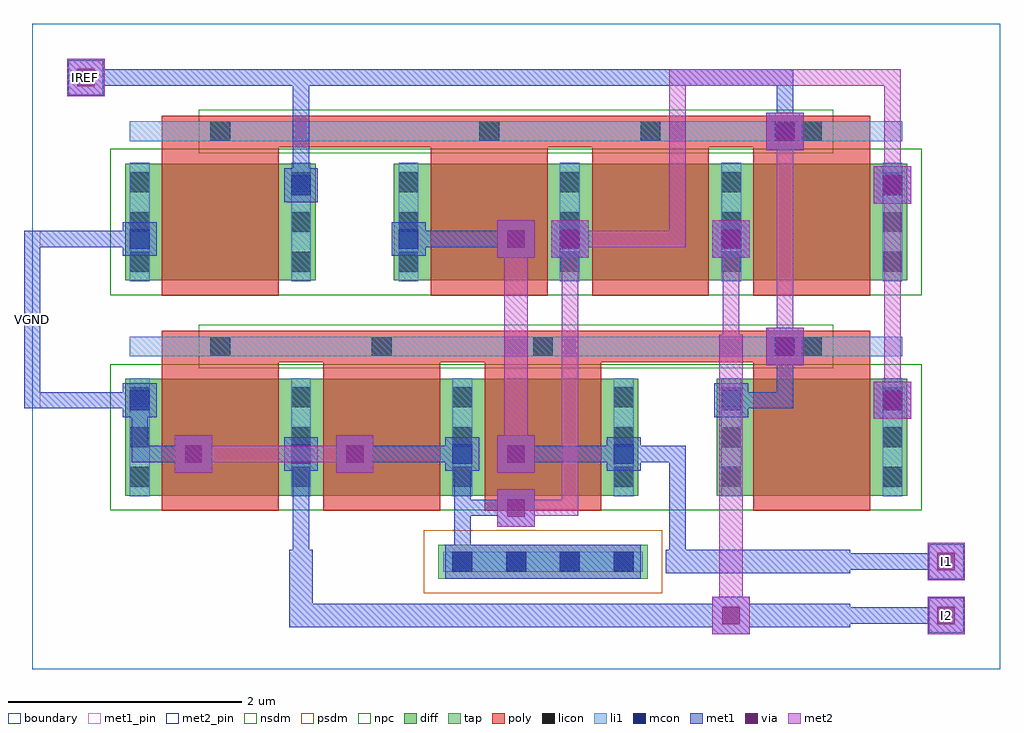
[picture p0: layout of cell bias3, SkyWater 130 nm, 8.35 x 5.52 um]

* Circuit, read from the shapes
.subckt bias3 I1 I2 IREF VGND
XM1 I2 IREF VGND VGND sky130_fd_pr__nfet_01v8 w=1 l=1 m=4
XM2 IREF IREF VGND VGND sky130_fd_pr__nfet_01v8 w=1 l=1 m=2
XM3 VGND IREF I1 VGND sky130_fd_pr__nfet_01v8 w=1 l=1 m=2
.ends

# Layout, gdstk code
import gdstk
lib = gdstk.Library(unit=1e-6, precision=1e-09)
def R(c, l, rs):  # rectangles x0, y0, x1, y1
    for r in rs: c.add(gdstk.rectangle(r[:2], r[2:], *l))
def A(c, l, x, y, w, h, nx, ny, dx, dy):  # array of equal rectangles
    R(c, l, [(x+i*dx, y+j*dy, x+i*dx+w, y+j*dy+h) for i in range(nx) for j in range(ny)])
diff = (65, 20)
tap = (65, 44)
poly = (66, 20)
licon = (66, 44)
li1 = (67, 20)
mcon = (67, 44)
met1_pin = (68, 16)
met1 = (68, 20)
via = (68, 44)
met2_pin = (69, 16)
met2 = (69, 20)
nsdm = (93, 44)
psdm = (94, 20)
npc = (95, 20)
boundary = (235, 4)

bias3 = lib.new_cell('bias3')
R(bias3, diff, [(0.795,1.485,5.185,2.485), (5.855,1.485,7.485,2.485), (0.795,3.325,2.425,4.325), (3.095,3.325,7.485,4.325)])
R(bias3, tap, [(3.475,0.775,5.265,1.065)])
A(bias3, poly, 1.11, 1.355, 1, 1.405, 3, 1, 1.38, 0)
A(bias3, poly, 3.41, 3.195, 1, 1.405, 3, 1, 1.38, 0)
R(bias3, poly, [(6.17,1.355,7.17,2.76), (1.11,2.625,7.17,2.895), (1.11,3.195,2.11,4.6), (1.11,4.465,7.17,4.735)])
A(bias3, licon, 3.595, 0.835, 0.17, 0.17, 4, 1, 0.46, 0)
A(bias3, licon, 0.835, 1.56, 0.17, 0.17, 4, 3, 1.38, 0.34)
A(bias3, licon, 5.895, 1.56, 0.17, 0.17, 1, 3, 0, 0.34)
A(bias3, licon, 7.275, 1.56, 0.17, 0.17, 1, 3, 0, 0.34)
A(bias3, licon, 1.525, 2.675, 0.17, 0.17, 3, 1, 1.38, 0)
A(bias3, licon, 0.835, 3.4, 0.17, 0.17, 1, 3, 0, 0.34)
A(bias3, licon, 2.215, 3.4, 0.17, 0.17, 1, 3, 0, 0.34)
A(bias3, licon, 3.135, 3.4, 0.17, 0.17, 4, 3, 1.38, 0.34)
A(bias3, licon, 3.825, 4.515, 0.17, 0.17, 3, 1, 1.38, 0)
R(bias3, licon, [(6.585,2.675,6.755,2.845), (1.525,4.515,1.695,4.685)])
A(bias3, li1, 0.835, 1.48, 0.17, 1.01, 4, 1, 1.38, 0)
A(bias3, li1, 3.135, 3.32, 0.17, 1.01, 4, 1, 1.38, 0)
R(bias3, li1, [(3.515,0.835,5.225,1.005), (5.895,1.48,6.065,2.49), (7.275,1.48,7.445,2.49), (0.835,2.675,7.445,2.845), (0.835,3.32,1.005,4.33), (2.215,3.32,2.385,4.33), (0.835,4.515,7.445,4.685)])
A(bias3, mcon, 3.595, 0.835, 0.17, 0.17, 4, 1, 0.46, 0)
A(bias3, mcon, 2.215, 1.755, 0.17, 0.17, 3, 1, 1.38, 0)
A(bias3, mcon, 3.135, 3.595, 0.17, 0.17, 3, 1, 1.38, 0)
R(bias3, mcon, [(0.835,2.215,1.005,2.385), (5.895,2.215,6.065,2.385), (7.275,2.215,7.445,2.385), (6.355,2.675,6.525,2.845), (0.835,3.595,1.005,3.765), (2.215,4.055,2.385,4.225), (7.275,4.055,7.445,4.225), (6.355,4.515,6.525,4.685)])
R(bias3, met1_pin, [(-0.07,2.23,0.07,3.75)])
A(bias3, met1, 1.22, 1.68, 0.32, 0.32, 3, 1, 1.38, 0)
A(bias3, met1, 2.155, 1.695, 0.29, 0.29, 3, 1, 1.38, 0)
A(bias3, met1, 3.075, 3.535, 0.29, 0.29, 3, 1, 1.38, 0)
R(bias3, met1, [(5.82,0.3,6.14,0.62), (7.66,0.3,7.98,0.62), (2.2,0.36,2.4,1.02), (2.2,0.36,7,0.56), (6.83,0.39,7.89,0.53), (7.66,0.76,7.98,1.08), (3.535,0.775,5.205,1.065), (5.42,0.82,7,1.02), (2.23,0.85,2.37,1.91), (3.61,0.85,3.75,1.91), (3.61,0.85,3.75,0.99), (5.45,0.85,5.59,1.91), (6.83,0.85,7.89,0.99), (3.98,1.22,4.3,1.54), (3.61,1.31,4.21,1.45), (0.85,1.77,1.45,1.91), (0.85,1.77,0.99,2.37), (2.69,1.77,3.75,1.91), (4.07,1.77,5.13,1.91), (4.99,1.77,5.59,1.91), (7.2,2.14,7.52,2.46), (0.775,2.155,1.065,2.445), (5.835,2.155,6.125,2.445), (7.215,2.155,7.505,2.445), (-0.07,2.23,0.99,2.37), (-0.07,2.23,0.07,3.75), (5.91,2.23,6.51,2.37), (6.37,2.23,6.51,2.83), (6.28,2.6,6.6,2.92), (6.295,2.615,6.585,2.905), (3.98,3.52,4.3,3.84), (4.44,3.52,4.76,3.84), (5.82,3.52,6.14,3.84), (0.775,3.535,1.065,3.825), (-0.07,3.61,0.99,3.75), (3.15,3.61,4.21,3.75), (7.2,3.98,7.52,4.3), (2.155,3.995,2.445,4.285), (7.215,3.995,7.505,4.285), (2.23,4.07,2.37,5.13), (6.28,4.44,6.6,4.76), (6.295,4.455,6.585,4.745), (6.37,4.53,6.51,5.13), (0.3,4.9,0.62,5.22), (0.39,4.99,2.37,5.13), (2.23,4.99,6.51,5.13)])
A(bias3, via, 1.305, 1.765, 0.15, 0.15, 3, 1, 1.38, 0)
R(bias3, via, [(5.905,0.385,6.055,0.535), (7.745,0.385,7.895,0.535), (7.745,0.845,7.895,0.995), (4.065,1.305,4.215,1.455), (7.285,2.225,7.435,2.375), (6.365,2.685,6.515,2.835), (4.065,3.605,4.215,3.755), (4.525,3.605,4.675,3.755), (5.905,3.605,6.055,3.755), (7.285,4.065,7.435,4.215), (6.365,4.525,6.515,4.675), (0.385,4.985,0.535,5.135)])
R(bias3, met2_pin, [(7.67,0.31,7.97,0.61), (7.67,0.77,7.97,1.07), (0.31,4.91,0.61,5.21)])
A(bias3, met2, 1.22, 1.68, 0.32, 0.32, 3, 1, 1.38, 0)
R(bias3, met2, [(5.82,0.3,6.14,0.62), (7.66,0.3,7.98,0.62), (7.67,0.31,7.97,0.61), (5.88,0.36,6.08,2.86), (7.75,0.39,7.89,0.53), (7.66,0.76,7.98,1.08), (7.67,0.77,7.97,1.07), (7.75,0.85,7.89,0.99), (3.98,1.22,4.3,1.54), (4.07,1.31,4.67,1.45), (4.53,1.31,4.67,3.75), (4.04,1.74,4.24,3.78), (1.31,1.77,2.83,1.91), (7.2,2.14,7.52,2.46), (7.29,2.23,7.43,4.21), (6.28,2.6,6.6,2.92), (5.91,2.69,6.05,3.75), (6.37,2.69,6.51,4.67), (3.98,3.52,4.3,3.84), (4.44,3.52,4.76,3.84), (5.82,3.52,6.14,3.84), (4.53,3.61,5.59,3.75), (5.45,3.61,5.59,5.13), (7.2,3.98,7.52,4.3), (7.29,4.07,7.43,5.13), (6.28,4.44,6.6,4.76), (0.3,4.9,0.62,5.22), (0.31,4.91,0.61,5.21), (0.39,4.99,0.53,5.13), (5.45,4.99,7.43,5.13)])
R(bias3, nsdm, [(0.67,1.36,7.61,2.61), (0.67,3.2,7.61,4.45)])
R(bias3, psdm, [(3.35,0.65,5.39,1.19)])
R(bias3, npc, [(1.425,2.575,6.855,2.945), (1.425,4.415,6.855,4.785)])
R(bias3, boundary, [(0,0,8.28,5.52)])
bias3.add(gdstk.Label('VGND', (0,2.99), layer=68, texttype=5))
bias3.add(gdstk.Label('IREF', (0.46,5.06), layer=69, texttype=5))
bias3.add(gdstk.Label('I1', (7.82,0.92), layer=69, texttype=5))
bias3.add(gdstk.Label('I2', (7.82,0.46), layer=69, texttype=5))
bias3.add(gdstk.Label('VGND', (0,2.99), layer=68, texttype=16))
bias3.add(gdstk.Label('IREF', (0.46,5.06), layer=69, texttype=16))
bias3.add(gdstk.Label('I1', (7.82,0.92), layer=69, texttype=16))
bias3.add(gdstk.Label('I2', (7.82,0.46), layer=69, texttype=16))

lib.write_gds('bias3.gds')
